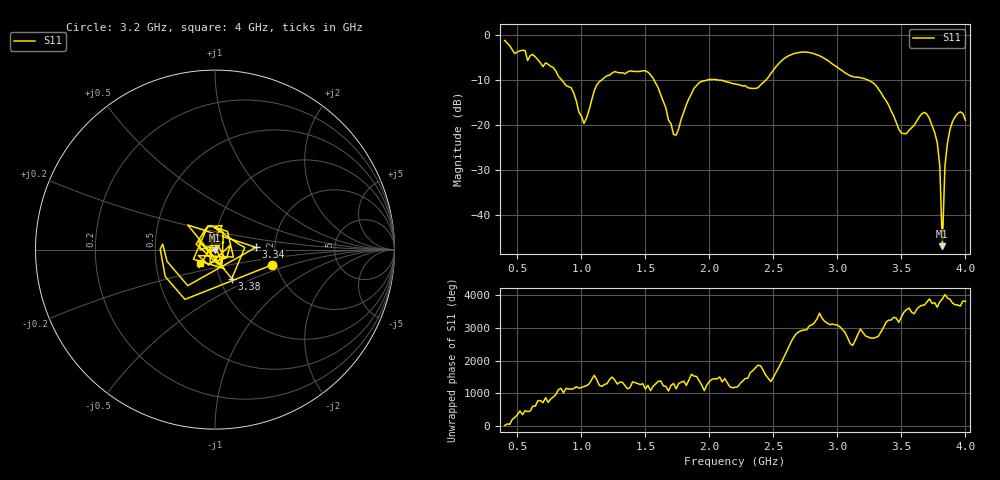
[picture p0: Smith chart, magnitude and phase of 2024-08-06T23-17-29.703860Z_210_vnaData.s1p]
!Created with skrf (http://scikit-rf.org).
# Hz S RI R 50.0
!freq ReS11 ImS11
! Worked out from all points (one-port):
!   181 points, 400 MHz to 4 GHz, reference 50 ohm
!   lowest |S11| = -47.0 dB at 3.82 GHz (marker M1), VSWR 1.01, Z = 50.2 - j0.407 ohm
!   |S11| at or under -10 dB: 1.567 GHz to 1.986 GHz (418.9 MHz wide, 23.6 % of centre); 2.068 GHz to 2.442 GHz (374.3 MHz wide, 16.6 % of centre); 3.238 GHz to end of sweep (the widest 3 of 4)
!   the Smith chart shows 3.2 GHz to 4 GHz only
!   S11 on the Smith chart (normalised r, x): 3.2 GHz: 1.89, -0.36; 3.34 GHz: 1.59, +0.04; 3.38 GHz: 1.14, -0.38; 4 GHz: 0.83, -0.13
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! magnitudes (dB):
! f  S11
! 400 MHz  -1.2
! 860 MHz  -10.5
! 920 MHz  -11.7
! 1.02 GHz  -19.7
! 1.12 GHz  -11.1
! 1.3 GHz  -8.4
! 1.52 GHz  -8.3
! 1.6 GHz  -11.8
! 1.72 GHz  -22.2
! 1.76 GHz  -20.8
! 1.92 GHz  -10.6
! 2.2 GHz  -10.9
! 2.38 GHz  -11.7
! 2.66 GHz  -4.1
! 3.1 GHz  -9.1
! 3.2 GHz  -9.6
! 3.34 GHz  -12.8
! 3.38 GHz  -14.6
! 3.5 GHz  -21.8
! 3.56 GHz  -21.2
! 3.68 GHz  -17.2
! 3.76 GHz  -21.7
! 3.8 GHz  -29.1
! 3.82 GHz  -47.0
! 3.84 GHz  -29.2
! 3.86 GHz  -24.0
! 3.92 GHz  -18.2
! 4 GHz  -19.0
